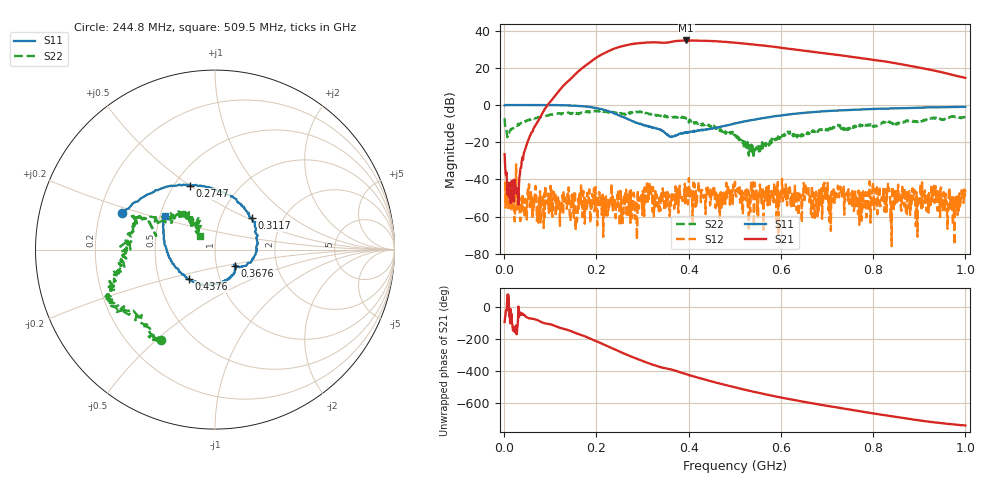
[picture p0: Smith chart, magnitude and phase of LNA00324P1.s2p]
! Created with skrf 1.9.0 (http://scikit-rf.org).
# Hz S RI R 50.0
!freq ReS11 ImS11 ReS21 ImS21 ReS12 ImS12 ReS22 ImS22
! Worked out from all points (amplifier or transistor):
!   1001 points, 1 MHz to 1 GHz, reference 50 ohm
!   highest |S21| = 34.7 dB at 394.6 MHz (marker M1)
!   |S21| within 3 dB of that: 257.3 MHz to 570.8 MHz (313.5 MHz wide, 75.7 % of centre)
!   unconditionally stable (mu >= 1): 4.556 MHz to 86.7 MHz; 251.8 MHz to 309.4 MHz; 310 MHz to end of sweep (the widest 3 of 27)
!   at 166.8 MHz: K = 0.29, MSG = 31.0 dB, |S12| = -42.6 dB
!   at 500.5 MHz: K = 1.27, MAG = 34.3 dB, |S12| = -41.3 dB
!   at 1 GHz: K = 2.85, MAG = 22.7 dB, |S12| = -45.7 dB
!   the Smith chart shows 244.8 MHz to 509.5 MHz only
!   S11 on the Smith chart (normalised r, x): 244.8 MHz: 0.29, +0.17; 274.7 MHz: 0.60, +0.50; 311.7 MHz: 1.40, +0.53; 367.6 MHz: 1.23, -0.22; 437.6 MHz: 0.71, -0.24; 509.5 MHz: 0.53, +0.23
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1000000  0.9766 0.00565  -0.00411 -0.0473  -0.000136 0.00795  0.3335 0.2893
1.08892e8  0.5127 -0.853  -0.7753 -1.462  -0.00186 -0.00208  0.4424 -0.3557
1.67833e8  -0.2486 -0.8958  -9.524 -0.6308  -0.00234 0.00103  0.0552 -0.6218
2.1079e8  -0.6876 -0.3464  -15.21 16.67  -0.00165 -0.00261  -0.2021 -0.6555
2.44756e8  -0.5205 0.2029  1.041 34.9  -0.00201 0.000573  -0.3017 -0.5022
2.74726e8  -0.1379 0.3558  26.73 33.67  -0.00331 -0.00389  -0.5061 -0.3164
3.11689e8  0.2041 0.1745  46.88 9.119  0.000393 0.00248  -0.5637 -0.1936
3.34666e8  0.2254 -0.0269  47.15 -9.415  0.000864 0.00203  -0.5209 -0.0697
3.67633e8  0.1126 -0.089  42.67 -28.4  -0.00142 0.00214  -0.458 0.1187
3.94606e8  0.0607 -0.1743  28.5 -46.42  0.00416 0.00443  -0.3908 0.1796
4.15585e8  -0.0399 -0.1979  13.1 -52.64  0.00304 0.00385  -0.272 0.1849
4.37563e8  -0.1456 -0.1636  -4.127 -53.04  0.00135 0.00237  -0.1943 0.184
4.69531e8  -0.258 -0.0327  -24.07 -44.73  0.00429 0.0015  -0.1279 0.1794
5.005e8  -0.287 0.1396  -36.8 -30.2  0.00831 -0.00213  -0.1042 0.1083
5.09491e8  -0.2806 0.1887  -38.67 -25.3  0.00524 -0.00123  -0.0847 0.0746
5.43457e8  -0.1914 0.3549  -41.3 -7.77  0.00632 -0.00512  -0.0435 0.0462
5.88412e8  0.00586 0.501  -34.74 10.45  0.00266 -0.00289  -0.097 -0.0585
6.67333e8  0.3952 0.5045  -13.91 23.09  -0.000179 -0.00672  -0.1936 -0.0513
7.53247e8  0.6796 0.2931  3.414 19.45  0.00418 0.00024  -0.2298 0.00112
8.34166e8  0.8018 0.0202  10.35 9.783  -0.00431 -0.0041  -0.3507 -0.0347
9.18082e8  0.8208 -0.2702  9.018 1.238  -0.000252 0.00338  -0.4105 0.1218
1e9  0.7313 -0.5155  5.138 -1.512  0.00439 0.00278  -0.3857 0.2622
